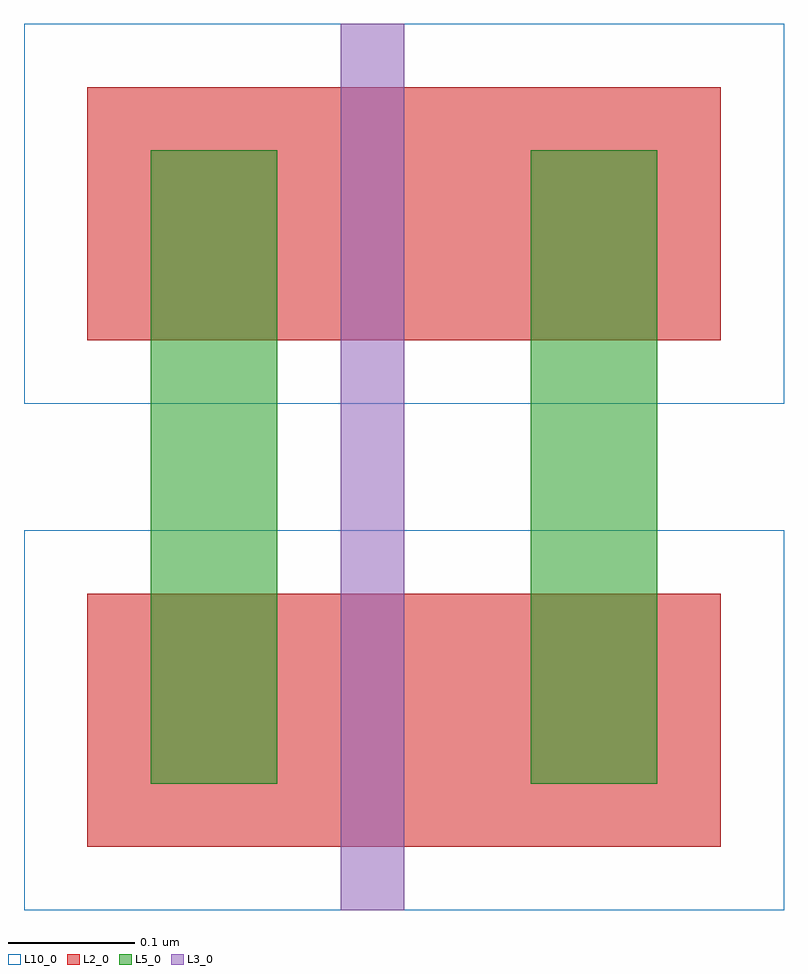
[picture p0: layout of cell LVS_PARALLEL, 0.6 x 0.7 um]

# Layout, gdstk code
import gdstk
lib = gdstk.Library(unit=1e-6, precision=1e-09)
def R(c, l, rs):  # rectangles x0, y0, x1, y1
    for r in rs: c.add(gdstk.rectangle(r[:2], r[2:], *l))
L2_0 = (2, 0)
L3_0 = (3, 0)
L5_0 = (5, 0)
L10_0 = (10, 0)

lvs_parallel = lib.new_cell('LVS_PARALLEL')
R(lvs_parallel, L2_0, [(0,0,0.5,0.2), (0,0.4,0.5,0.6)])
R(lvs_parallel, L3_0, [(0.2,-0.05,0.25,0.65)])
R(lvs_parallel, L5_0, [(0.05,0.05,0.15,0.55), (0.35,0.05,0.45,0.55)])
R(lvs_parallel, L10_0, [(-0.05,-0.05,0.55,0.25), (-0.05,0.35,0.55,0.65)])

lib.write_gds('LVS_PARALLEL.gds')
